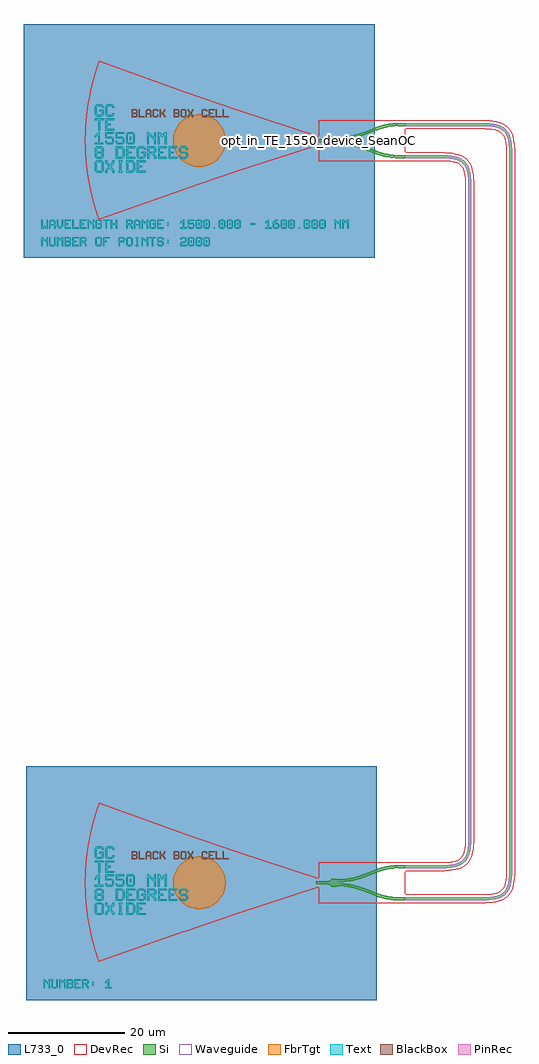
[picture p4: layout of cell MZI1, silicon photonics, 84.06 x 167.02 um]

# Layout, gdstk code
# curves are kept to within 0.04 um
import gdstk
lib = gdstk.Library(unit=1e-6, precision=1e-09)
def R(c, l, rs):  # rectangles x0, y0, x1, y1
    for r in rs: c.add(gdstk.rectangle(r[:2], r[2:], *l))
def A(c, l, x, y, w, h, nx, ny, dx, dy):  # array of equal rectangles
    R(c, l, [(x+i*dx, y+j*dy, x+i*dx+w, y+j*dy+h) for i in range(nx) for j in range(ny)])
def P(c, l, *ps):  # polygons
    for p in ps: c.add(gdstk.Polygon(p, *l))
Si = (1, 0)
PinRec = (1, 10)
Waveguide = (1, 99)
Text = (10, 0)
DevRec = (68, 0)
FbrTgt = (81, 0)
L733_0 = (733, 0)
BlackBox = (998, 0)

text = lib.new_cell('TEXT')
P(text, BlackBox, [(0,0),(0,1.4),(0.8,1.4),(1,1.2),(0.2,1.2),(0.2,0.8),(0.7,0.8),(0.8,0.9),(0.8,1.1),(0.7,1.2),(1,1.2),(1,0.8),(0.9,0.7),(1,0.6),(0.2,0.6),(0.2,0.2),(0.7,0.2),(0.8,0.3),(0.8,0.5),(0.7,0.6),(1,0.6),(1,0.2),(0.8,0)],
  [(1.2,0),(1.2,1.4),(1.4,1.4),(1.4,0.2),(2.2,0.2),(2.2,0)],
  [(2.4,0),(2.4,1.1),(2.7,1.4),(3.1,1.4),(3.3,1.2),(2.8,1.2),(2.6,1),(2.6,0.7),(3.2,0.7),(3.2,1),(3,1.2),(3.3,1.2),(3.4,1.1),(3.4,0),(3.2,0),(3.2,0.5),(2.6,0.5),(2.6,0)],
  [(3.8,0),(3.6,0.2),(3.6,1.2),(3.8,1.4),(4.4,1.4),(4.6,1.2),(4.6,1),(4.4,1),(4.4,1.1),(4.3,1.2),(3.9,1.2),(3.8,1.1),(3.8,0.3),(3.9,0.2),(4.3,0.2),(4.4,0.3),(4.4,0.4),(4.6,0.4),(4.6,0.2),(4.4,0)],
  [(4.8,0),(4.8,1.4),(5,1.4),(5,0.8),(5.2,0.8),(5.6,1.2),(5.6,1.4),(5.8,1.4),(5.8,1.1),(5.4,0.7),(5.8,0.3),(5.8,0),(5.6,0),(5.6,0.2),(5.2,0.6),(5,0.6),(5,0)],
  [(7.2,0),(7.2,1.4),(8,1.4),(8.2,1.2),(7.4,1.2),(7.4,0.8),(7.9,0.8),(8,0.9),(8,1.1),(7.9,1.2),(8.2,1.2),(8.2,0.8),(8.1,0.7),(8.2,0.6),(7.4,0.6),(7.4,0.2),(7.9,0.2),(8,0.3),(8,0.5),(7.9,0.6),(8.2,0.6),(8.2,0.2),(8,0)],
  [(8.6,0),(8.4,0.2),(8.4,1.2),(8.6,1.4),(9.2,1.4),(9.4,1.2),(9.4,0.7),(9.2,0.7),(9.2,1.1),(9.1,1.2),(8.7,1.2),(8.6,1.1),(8.6,0.3),(8.7,0.2),(9.1,0.2),(9.2,0.3),(9.2,0.7),(9.4,0.7),(9.4,0.2),(9.2,0)],
  [(9.6,0),(9.6,0.3),(9.9,0.6),(9.9,0.8),(9.6,1.1),(9.6,1.4),(9.8,1.4),(9.8,1.2),(10.1,0.9),(10.4,1.2),(10.4,1.4),(10.6,1.4),(10.6,1.1),(10.3,0.8),(10.3,0.6),(10.6,0.3),(10.6,0),(10.4,0),(10.4,0.2),(10.1,0.5),(9.8,0.2),(9.8,0)],
  [(12.2,0),(12,0.2),(12,1.2),(12.2,1.4),(12.8,1.4),(13,1.2),(13,1),(12.8,1),(12.8,1.1),(12.7,1.2),(12.3,1.2),(12.2,1.1),(12.2,0.3),(12.3,0.2),(12.7,0.2),(12.8,0.3),(12.8,0.4),(13,0.4),(13,0.2),(12.8,0)],
  [(13.2,0),(13.2,1.4),(14.2,1.4),(14.2,1.2),(13.4,1.2),(13.4,0.8),(13.8,0.8),(13.8,0.6),(13.4,0.6),(13.4,0.2),(14.2,0.2),(14.2,0)],
  [(14.4,0),(14.4,1.4),(14.6,1.4),(14.6,0.2),(15.4,0.2),(15.4,0)],
  [(15.6,0),(15.6,1.4),(15.8,1.4),(15.8,0.2),(16.6,0.2),(16.6,0)])

gc_te_1550_8degoxide_bb = lib.new_cell('GC_TE_1550_8degOxide_BB')
R(gc_te_1550_8degoxide_bb, Si, [(-0.4,-0.25,0,0.25)])
R(gc_te_1550_8degoxide_bb, Text, [(-32.313,0.092,-32.013,0.692)])
P(gc_te_1550_8degoxide_bb, Text, [(-37.67,1.71),(-37.67,3.51),(-38.27,3.51),(-38.27,3.81),(-36.77,3.81),(-36.77,3.51),(-37.37,3.51),(-37.37,1.71)],
  [(-37.97,-5.49),(-38.27,-5.19),(-38.27,-3.69),(-37.97,-3.39),(-37.07,-3.39),(-36.77,-3.69),(-36.77,-4.44),(-37.07,-4.44),(-37.07,-3.84),(-37.22,-3.69),(-37.82,-3.69),(-37.97,-3.84),(-37.97,-5.04),(-37.82,-5.19),(-37.22,-5.19),(-37.07,-5.04),(-37.07,-4.44),(-36.77,-4.44),(-36.77,-5.19),(-37.07,-5.49)],
  [(-31.07,-5.49),(-31.07,-3.39),(-29.57,-3.39),(-29.57,-3.69),(-30.77,-3.69),(-30.77,-4.29),(-30.17,-4.29),(-30.17,-4.59),(-30.77,-4.59),(-30.77,-5.19),(-29.57,-5.19),(-29.57,-5.49)],
  [(-32.87,-3.09),(-32.87,-0.99),(-31.37,-0.99),(-31.37,-1.29),(-32.57,-1.29),(-32.57,-1.89),(-31.97,-1.89),(-31.97,-2.19),(-32.57,-2.19),(-32.57,-2.79),(-31.37,-2.79),(-31.37,-3.09)],
  [(-27.47,-3.09),(-27.47,-0.99),(-25.97,-0.99),(-25.97,-1.29),(-27.17,-1.29),(-27.17,-1.89),(-26.57,-1.89),(-26.57,-2.19),(-27.17,-2.19),(-27.17,-2.79),(-25.97,-2.79),(-25.97,-3.09)],
  [(-25.67,-3.09),(-25.67,-0.99),(-24.17,-0.99),(-24.17,-1.29),(-25.37,-1.29),(-25.37,-1.89),(-24.77,-1.89),(-24.77,-2.19),(-25.37,-2.19),(-25.37,-2.79),(-24.17,-2.79),(-24.17,-3.09)],
  [(-36.47,1.71),(-36.47,3.81),(-34.97,3.81),(-34.97,3.51),(-36.17,3.51),(-36.17,2.91),(-35.57,2.91),(-35.57,2.61),(-36.17,2.61),(-36.17,2.01),(-34.97,2.01),(-34.97,1.71)],
  [(-29.313,-0.658),(-29.313,1.442),(-29.013,1.442),(-28.263,0.692),(-28.113,0.692),(-28.113,1.442),(-27.813,1.442),(-27.813,-0.658),(-28.113,-0.658),(-28.113,0.092),(-28.863,0.842),(-29.013,0.842),(-29.013,-0.658)],
  [(-34.22,-5.49),(-34.22,-5.19),(-34.07,-5.19),(-34.07,-3.69),(-34.22,-3.69),(-34.22,-3.39),(-33.62,-3.39),(-33.62,-3.69),(-33.77,-3.69),(-33.77,-5.19),(-33.62,-5.19),(-33.62,-5.49)],
  [(-36.17,4.11),(-36.47,4.41),(-36.47,5.91),(-36.17,6.21),(-35.27,6.21),(-34.97,5.91),(-34.97,5.61),(-35.27,5.61),(-35.27,5.76),(-35.42,5.91),(-36.02,5.91),(-36.17,5.76),(-36.17,4.56),(-36.02,4.41),(-35.42,4.41),(-35.27,4.56),(-35.27,4.71),(-34.97,4.71),(-34.97,4.41),(-35.27,4.11)],
  [(-27.513,-0.658),(-27.513,1.442),(-27.213,1.442),(-26.913,1.142),(-26.613,1.142),(-26.313,1.442),(-26.013,1.442),(-26.013,-0.658),(-26.313,-0.658),(-26.313,0.842),(-26.463,0.842),(-26.763,0.542),(-27.063,0.842),(-27.213,0.842),(-27.213,-0.658)],
  [(-32.613,-0.658),(-32.913,-0.358),(-32.913,1.142),(-32.613,1.442),(-31.713,1.442),(-31.413,1.142),(-32.463,1.142),(-32.613,0.992),(-32.613,-0.208),(-32.463,-0.358),(-31.863,-0.358),(-31.713,-0.208),(-31.713,0.992),(-31.863,1.142),(-31.413,1.142),(-31.413,-0.358),(-31.713,-0.658)],
  [(-32.87,-5.49),(-32.87,-3.39),(-31.82,-3.39),(-31.52,-3.69),(-32.57,-3.69),(-32.57,-5.19),(-31.97,-5.19),(-31.67,-4.89),(-31.67,-3.99),(-31.97,-3.69),(-31.52,-3.69),(-31.37,-3.84),(-31.37,-5.04),(-31.82,-5.49)],
  [(-34.67,-3.09),(-34.67,-0.99),(-33.62,-0.99),(-33.32,-1.29),(-34.37,-1.29),(-34.37,-2.79),(-33.77,-2.79),(-33.47,-2.49),(-33.47,-1.59),(-33.77,-1.29),(-33.32,-1.29),(-33.17,-1.44),(-33.17,-2.64),(-33.62,-3.09)],
  [(-23.57,-3.09),(-23.87,-2.79),(-23.87,-2.49),(-23.57,-2.49),(-23.57,-2.64),(-23.42,-2.79),(-22.82,-2.79),(-22.67,-2.64),(-22.67,-2.34),(-22.82,-2.19),(-23.57,-2.19),(-23.87,-1.89),(-23.87,-1.29),(-23.57,-0.99),(-22.67,-0.99),(-22.37,-1.29),(-22.37,-1.59),(-22.67,-1.59),(-22.67,-1.44),(-22.82,-1.29),(-23.42,-1.29),(-23.57,-1.44),(-23.57,-1.74),(-23.42,-1.89),(-22.67,-1.89),(-22.37,-2.19),(-22.37,-2.79),(-22.67,-3.09)],
  [(-36.213,-0.658),(-36.513,-0.358),(-36.513,-0.058),(-36.213,-0.058),(-36.213,-0.208),(-36.063,-0.358),(-35.463,-0.358),(-35.313,-0.208),(-35.313,0.242),(-35.463,0.392),(-36.513,0.392),(-36.513,1.442),(-35.013,1.442),(-35.013,1.142),(-36.213,1.142),(-36.213,0.692),(-35.313,0.692),(-35.013,0.392),(-35.013,-0.358),(-35.313,-0.658)],
  [(-34.413,-0.658),(-34.713,-0.358),(-34.713,-0.058),(-34.413,-0.058),(-34.413,-0.208),(-34.263,-0.358),(-33.663,-0.358),(-33.513,-0.208),(-33.513,0.242),(-33.663,0.392),(-34.713,0.392),(-34.713,1.442),(-33.213,1.442),(-33.213,1.142),(-34.413,1.142),(-34.413,0.692),(-33.513,0.692),(-33.213,0.392),(-33.213,-0.358),(-33.513,-0.658)],
  [(-37.97,-3.09),(-38.27,-2.79),(-38.27,-2.19),(-38.12,-2.04),(-38.27,-1.89),(-38.27,-1.29),(-37.97,-0.99),(-37.07,-0.99),(-36.77,-1.29),(-37.82,-1.29),(-37.97,-1.44),(-37.97,-1.74),(-37.82,-1.89),(-37.22,-1.89),(-37.07,-1.74),(-37.07,-1.44),(-37.22,-1.29),(-36.77,-1.29),(-36.77,-1.89),(-36.92,-2.04),(-36.77,-2.19),(-37.82,-2.19),(-37.97,-2.34),(-37.97,-2.64),(-37.82,-2.79),(-37.22,-2.79),(-37.07,-2.64),(-37.07,-2.34),(-37.22,-2.19),(-36.77,-2.19),(-36.77,-2.79),(-37.07,-3.09)],
  [(-38.313,-0.658),(-38.313,-0.358),(-37.713,-0.358),(-37.713,0.842),(-37.863,0.842),(-38.163,0.542),(-38.313,0.542),(-38.313,0.842),(-37.713,1.442),(-37.413,1.442),(-37.413,-0.358),(-36.813,-0.358),(-36.813,-0.658)],
  [(-36.47,-5.49),(-36.47,-5.04),(-36.02,-4.59),(-36.02,-4.29),(-36.47,-3.84),(-36.47,-3.39),(-36.17,-3.39),(-36.17,-3.69),(-35.72,-4.14),(-35.27,-3.69),(-35.27,-3.39),(-34.97,-3.39),(-34.97,-3.84),(-35.42,-4.29),(-35.42,-4.59),(-34.97,-5.04),(-34.97,-5.49),(-35.27,-5.49),(-35.27,-5.19),(-35.72,-4.74),(-36.17,-5.19),(-36.17,-5.49)],
  [(-30.77,-3.09),(-31.07,-2.79),(-31.07,-1.29),(-30.77,-0.99),(-29.87,-0.99),(-29.57,-1.29),(-29.57,-1.59),(-29.87,-1.59),(-29.87,-1.44),(-30.02,-1.29),(-30.62,-1.29),(-30.77,-1.44),(-30.77,-2.64),(-30.62,-2.79),(-30.02,-2.79),(-29.87,-2.64),(-29.87,-2.19),(-30.32,-2.19),(-30.32,-1.89),(-29.57,-1.89),(-29.57,-2.79),(-29.87,-3.09)],
  [(-37.97,4.11),(-38.27,4.41),(-38.27,5.91),(-37.97,6.21),(-37.07,6.21),(-36.77,5.91),(-36.77,5.61),(-37.07,5.61),(-37.07,5.76),(-37.22,5.91),(-37.82,5.91),(-37.97,5.76),(-37.97,4.56),(-37.82,4.41),(-37.22,4.41),(-37.07,4.56),(-37.07,5.01),(-37.52,5.01),(-37.52,5.31),(-36.77,5.31),(-36.77,4.41),(-37.07,4.11)],
  [(-29.27,-3.09),(-29.27,-0.99),(-28.07,-0.99),(-27.77,-1.29),(-28.97,-1.29),(-28.97,-1.89),(-28.22,-1.89),(-28.07,-1.74),(-28.07,-1.44),(-28.22,-1.29),(-27.77,-1.29),(-27.77,-1.89),(-28.07,-2.19),(-28.07,-2.34),(-27.77,-2.64),(-27.77,-3.09),(-28.07,-3.09),(-28.07,-2.79),(-28.67,-2.19),(-28.97,-2.19),(-28.97,-3.09)])
P(gc_te_1550_8degoxide_bb, DevRec, [(-37.607,-13.5),(-38.627,-10.245),(-39.378,-6.832),(-39.647,-5.058),(-39.835,-3.274),(-39.969,0.224),(-39.812,3.541),(-39.331,7.097),(-38.557,10.505),(-37.546,13.669),(-22.8,8.353),(-14.109,5.36),(0,0.75),(0,-0.75),(-14.109,-5.36)])
P(gc_te_1550_8degoxide_bb, FbrTgt, [(-20.621,-4.5),(-21.495,-4.37),(-22.326,-4.073),(-23.084,-3.619),(-23.738,-3.026),(-24.264,-2.316),(-24.642,-1.518),(-24.857,-0.661),(-24.9,0.221),(-24.77,1.095),(-24.473,1.926),(-24.019,2.684),(-23.426,3.338),(-22.716,3.864),(-21.918,4.242),(-21.061,4.457),(-20.179,4.5),(-19.305,4.37),(-18.474,4.073),(-17.716,3.619),(-17.062,3.026),(-16.536,2.316),(-16.158,1.518),(-15.943,0.661),(-15.9,-0.221),(-16.03,-1.095),(-16.327,-1.926),(-16.781,-2.684),(-17.374,-3.338),(-18.084,-3.864),(-18.882,-4.242),(-19.739,-4.457)])
gc_te_1550_8degoxide_bb.add(gdstk.FlexPath([(-0.01,0),(0.01,0)], 0.5, ends="flush", simple_path=True, layer=1, datatype=10))  # PinRec
gc_te_1550_8degoxide_bb.add(gdstk.Reference(text, (-32,4)))
gc_te_1550_8degoxide_bb.add(gdstk.Label('opt1', (0,0), layer=1, texttype=10))
gc_te_1550_8degoxide_bb.add(gdstk.Label('Lumerical_INTERCONNECT_library=Design kits/ebeam', (-29,-7), layer=68, texttype=0))
gc_te_1550_8degoxide_bb.add(gdstk.Label('Component=GC_TE_1550_8degOxide_BB', (-28,-5), layer=68, texttype=0))

ebeam_y_1550 = lib.new_cell('ebeam_y_1550')
R(ebeam_y_1550, Si, [(6.5,-3,7.4,-2.5), (-7.4,-0.25,-6,0.25), (6.5,2.5,7.4,3)])
P(ebeam_y_1550, Si, [(6.458,-3),(6.237,-2.997),(6.237,-2.497),(6.5,-2.5),(6.5,-3)],
  [(5.033,-2.908),(3.59,-2.634),(2.265,-2.21),(2.445,-1.744),(3.731,-2.154),(5.033,-2.404)],
  [(6.233,-2.997),(5.033,-2.908),(5.033,-2.404),(6.237,-2.497)],
  [(2.265,-2.21),(0.055,-1.356),(0.235,-0.89),(2.445,-1.744)],
  [(-0.762,-1.076),(-2.334,-0.724),(-4,-0.6),(-4,-0.1),(-2.381,-0.212),(-0.762,-0.555)],
  [(0.055,-1.356),(-0.762,-1.076),(-0.762,-0.555),(0.235,-0.89)],
  [(6.237,2.497),(6.237,2.997),(6.5,3),(6.5,2.5)],
  [(2.445,1.744),(2.267,2.211),(3.59,2.634),(5.033,2.908),(5.033,2.404),(3.731,2.154)],
  [(5.033,2.404),(5.033,2.908),(6.237,2.997),(6.237,2.497)],
  [(0.235,0.89),(0.055,1.356),(2.265,2.21),(2.445,1.744)],
  [(-4,0.1),(-4,0.6),(-2.334,0.724),(-0.762,1.076),(-0.762,0.555),(-2.381,0.212)],
  [(-0.762,0.555),(-0.762,1.076),(0.055,1.356),(0.235,0.89)],
  [(-5.122,-0.662),(-5.442,-0.374),(-5.808,-0.255),(-6,-0.25),(-6,0.25),(-5.817,0.253),(-5.442,0.374),(-5.122,0.662)],
  [(-4.957,-0.703),(-5.122,-0.662),(-5.122,0.662),(-4.538,0.703),(-4,0.6),(-4,-0.6),(-4.509,-0.701)])
R(ebeam_y_1550, DevRec, [(-7.4,-3.5,7.4,3.5)])
ebeam_y_1550.add(gdstk.FlexPath([(-7.35,0),(-7.45,0)], 0.5, ends="flush", simple_path=True, layer=1, datatype=10))  # PinRec
ebeam_y_1550.add(gdstk.FlexPath([(7.35,2.75),(7.45,2.75)], 0.5, ends="flush", simple_path=True, layer=1, datatype=10))  # PinRec
ebeam_y_1550.add(gdstk.FlexPath([(7.35,-2.75),(7.45,-2.75)], 0.5, ends="flush", simple_path=True, layer=1, datatype=10))  # PinRec
ebeam_y_1550.add(gdstk.Label('Ref: Y Zhang, Opt. Express, 21/1, 2013', (-7.5,-1), layer=10, texttype=0))
ebeam_y_1550.add(gdstk.Label('opt2', (7.4,2.75), layer=1, texttype=10))
ebeam_y_1550.add(gdstk.Label('opt3', (7.4,-2.75), layer=1, texttype=10))
ebeam_y_1550.add(gdstk.Label('opt1', (-7.4,0), layer=1, texttype=10))
ebeam_y_1550.add(gdstk.Label('Component=ebeam_y_1550', (-6,1.5), layer=68, texttype=0))
ebeam_y_1550.add(gdstk.Label('Lumerical_INTERCONNECT_library=Design kits/ebeam', (-6.86,-2.19), layer=68, texttype=0))

waveguide_2 = lib.new_cell('Waveguide$2')
P(waveguide_2, Si, [(16.6,-1.8),(16.6,-1.3),(29.907,-1.299),(31.075,-1.247),(32.031,-1.105),(32.993,-0.76),(33.357,-0.516),(33.655,-0.218),(34.095,0.585),(34.368,1.89),(34.44,3.45),(34.44,125.95),(34.328,127.839),(34.051,128.931),(33.587,129.696),(33.184,130.043),(32.784,130.263),(31.735,130.562),(30.897,130.661),(29.69,130.7),(16.6,130.7),(16.6,131.2),(29.69,131.2),(31.304,131.126),(32.294,130.955),(32.988,130.719),(33.571,130.382),(34.042,129.933),(34.401,129.372),(34.696,128.553),(34.846,127.74),(34.931,126.597),(34.94,3.45),(34.866,1.836),(34.732,1),(34.565,0.417),(34.337,-0.094),(34.041,-0.534),(33.673,-0.902),(33.233,-1.198),(32.722,-1.426),(31.982,-1.625),(31.121,-1.745),(29.911,-1.799)])
P(waveguide_2, Waveguide, [(16.6,-1.8),(16.6,-1.3),(29.907,-1.299),(31.075,-1.247),(32.031,-1.105),(32.993,-0.76),(33.357,-0.516),(33.655,-0.218),(34.095,0.585),(34.368,1.89),(34.44,3.45),(34.44,125.95),(34.328,127.839),(34.051,128.931),(33.587,129.696),(33.184,130.043),(32.784,130.263),(31.735,130.562),(30.897,130.661),(29.69,130.7),(16.6,130.7),(16.6,131.2),(29.69,131.2),(31.304,131.126),(32.294,130.955),(32.988,130.719),(33.571,130.382),(34.042,129.933),(34.401,129.372),(34.696,128.553),(34.846,127.74),(34.931,126.597),(34.94,3.45),(34.866,1.836),(34.732,1),(34.565,0.417),(34.337,-0.094),(34.041,-0.534),(33.673,-0.902),(33.233,-1.198),(32.722,-1.426),(31.982,-1.625),(31.121,-1.745),(29.911,-1.799)])
P(waveguide_2, DevRec, [(16.6,-2.3),(16.6,-0.8),(29.689,-0.8),(30.92,-0.758),(31.883,-0.625),(32.585,-0.405),(33.065,-0.108),(33.247,0.074),(33.544,0.554),(33.664,0.874),(33.842,1.705),(33.94,3.45),(33.94,125.95),(33.843,127.694),(33.665,128.525),(33.545,128.845),(33.248,129.325),(33.066,129.507),(32.586,129.804),(31.435,130.102),(29.689,130.2),(16.6,130.2),(16.6,131.7),(29.691,131.7),(31.643,131.588),(32.718,131.354),(33.2,131.172),(34.04,130.647),(34.388,130.299),(34.679,129.9),(35.095,128.977),(35.329,127.902),(35.43,126.651),(35.44,3.45),(35.328,1.497),(35.094,0.422),(34.912,-0.06),(34.387,-0.9),(33.64,-1.539),(33.199,-1.773),(32.199,-2.091),(31.04,-2.254),(29.691,-2.3)])
waveguide_2.add(gdstk.FlexPath([(16.61,-1.55),(16.59,-1.55)], 0.5, ends="flush", simple_path=True, layer=1, datatype=10))  # PinRec
waveguide_2.add(gdstk.FlexPath([(16.61,130.95),(16.59,130.95)], 0.5, ends="flush", simple_path=True, layer=1, datatype=10))  # PinRec
waveguide_2.add(gdstk.Label('opt1', (16.6,-1.55), layer=1, texttype=10))
waveguide_2.add(gdstk.Label('opt2', (16.6,130.95), layer=1, texttype=10))
waveguide_2.add(gdstk.Label('Lumerical_INTERCONNECT_library=Design kits/EBeam', (16.6,-1.65), layer=68, texttype=0))
waveguide_2.add(gdstk.Label('Component=ebeam_wg_integral_1550', (16.6,-1.45), layer=68, texttype=0))
waveguide_2.add(gdstk.Label('cellName=Waveguide', (16.6,-1.35), layer=68, texttype=0))
waveguide_2.add(gdstk.Label('Spice_param:wg_length=0.000165577 wg_width=5e-07 points="[[16.6,-1.55],[34.69,-1.55],[34.69,130.95],[16.6,130.95]]" radius=5e-06', (16.6,-1.55), layer=68, texttype=0))
waveguide_2.add(gdstk.Label('Length=165.577 (microns)', (16.6,-2.15), layer=68, texttype=0))
waveguide_2.add(gdstk.Label('waveguide_type=Strip TE 1550 nm, w=500 nm', (16.6,-1.75), layer=68, texttype=0))

waveguide_1 = lib.new_cell('Waveguide$1')
P(waveguide_1, Si, [(16.6,3.7),(16.6,4.2),(23.52,4.218),(24.735,4.338),(25.672,4.59),(26.358,4.985),(26.656,5.283),(26.9,5.647),(27.245,6.609),(27.413,7.929),(27.44,120.45),(27.386,121.836),(27.175,123.063),(26.783,123.944),(26.513,124.273),(26.183,124.544),(25.431,124.897),(24.579,125.088),(23.321,125.191),(16.6,125.2),(16.6,125.7),(23.739,125.673),(24.82,125.555),(25.722,125.326),(26.461,124.96),(26.956,124.533),(27.337,123.994),(27.655,123.201),(27.845,122.241),(27.93,121.098),(27.913,7.901),(27.733,6.501),(27.566,5.918),(27.338,5.407),(27.042,4.967),(26.674,4.599),(26.234,4.303),(25.723,4.075),(24.821,3.846),(23.542,3.718)])
P(waveguide_1, Waveguide, [(16.6,3.7),(16.6,4.2),(23.52,4.218),(24.735,4.338),(25.672,4.59),(26.358,4.985),(26.656,5.283),(26.9,5.647),(27.245,6.609),(27.413,7.929),(27.44,120.45),(27.386,121.836),(27.175,123.063),(26.783,123.944),(26.513,124.273),(26.183,124.544),(25.431,124.897),(24.579,125.088),(23.321,125.191),(16.6,125.2),(16.6,125.7),(23.739,125.673),(24.82,125.555),(25.722,125.326),(26.461,124.96),(26.956,124.533),(27.337,123.994),(27.655,123.201),(27.845,122.241),(27.93,121.098),(27.913,7.901),(27.733,6.501),(27.566,5.918),(27.338,5.407),(27.042,4.967),(26.674,4.599),(26.234,4.303),(25.723,4.075),(24.821,3.846),(23.542,3.718)])
P(waveguide_1, DevRec, [(16.6,3.2),(16.6,4.7),(23.34,4.711),(24.435,4.798),(25.586,5.096),(26.066,5.393),(26.248,5.575),(26.545,6.055),(26.765,6.757),(26.898,7.72),(26.94,8.95),(26.94,120.45),(26.897,121.681),(26.764,122.644),(26.404,123.609),(26.247,123.826),(25.848,124.165),(25.265,124.425),(24.434,124.603),(23.339,124.69),(16.6,124.7),(16.6,126.2),(24.04,126.154),(25.199,125.991),(26.199,125.673),(27.039,125.148),(27.387,124.8),(27.678,124.401),(28.094,123.478),(28.328,122.403),(28.429,121.152),(28.44,8.95),(28.394,7.6),(28.231,6.441),(28.095,5.923),(27.679,5),(27.04,4.253),(26.641,3.962),(25.718,3.546),(24.643,3.312),(23.392,3.211)])
waveguide_1.add(gdstk.FlexPath([(16.61,125.45),(16.59,125.45)], 0.5, ends="flush", simple_path=True, layer=1, datatype=10))  # PinRec
waveguide_1.add(gdstk.FlexPath([(16.61,3.95),(16.59,3.95)], 0.5, ends="flush", simple_path=True, layer=1, datatype=10))  # PinRec
waveguide_1.add(gdstk.Label('opt1', (16.6,125.45), layer=1, texttype=10))
waveguide_1.add(gdstk.Label('opt2', (16.6,3.95), layer=1, texttype=10))
waveguide_1.add(gdstk.Label('Lumerical_INTERCONNECT_library=Design kits/EBeam', (16.6,125.35), layer=68, texttype=0))
waveguide_1.add(gdstk.Label('Component=ebeam_wg_integral_1550', (16.6,125.55), layer=68, texttype=0))
waveguide_1.add(gdstk.Label('cellName=Waveguide', (16.6,125.65), layer=68, texttype=0))
waveguide_1.add(gdstk.Label('Spice_param:wg_length=0.000140577 wg_width=5e-07 points="[[16.6,125.45],[27.69,125.45],[27.69,3.95],[16.6,3.95]]" radius=5e-06', (16.6,125.45), layer=68, texttype=0))
waveguide_1.add(gdstk.Label('Length=140.577 (microns)', (16.6,124.85), layer=68, texttype=0))
waveguide_1.add(gdstk.Label('waveguide_type=Strip TE 1550 nm, w=500 nm', (16.6,125.25), layer=68, texttype=0))

text_1 = lib.new_cell('TEXT$1')
A(text_1, Text, 25.52, 0.55, 0.22, 0.44, 3, 1, 1.32, 0)
R(text_1, Text, [(21.56,0.44,21.78,0.66), (21.56,0.88,21.78,1.1)])
P(text_1, Text, [(0,0),(0,1.54),(0.22,1.54),(0.77,0.99),(0.88,0.99),(0.88,1.54),(1.1,1.54),(1.1,0),(0.88,0),(0.88,0.55),(0.33,1.1),(0.22,1.1),(0.22,0)],
  [(1.54,0),(1.32,0.22),(1.32,1.54),(1.54,1.54),(1.54,0.33),(1.65,0.22),(2.09,0.22),(2.2,0.33),(2.2,1.54),(2.42,1.54),(2.42,0.22),(2.2,0)],
  [(2.64,0),(2.64,1.54),(2.86,1.54),(3.08,1.32),(3.3,1.32),(3.52,1.54),(3.74,1.54),(3.74,0),(3.52,0),(3.52,1.1),(3.41,1.1),(3.19,0.88),(2.97,1.1),(2.86,1.1),(2.86,0)],
  [(3.96,0),(3.96,1.54),(4.84,1.54),(5.06,1.32),(4.18,1.32),(4.18,0.88),(4.73,0.88),(4.84,0.99),(4.84,1.21),(4.73,1.32),(5.06,1.32),(5.06,0.88),(4.95,0.77),(5.06,0.66),(4.18,0.66),(4.18,0.22),(4.73,0.22),(4.84,0.33),(4.84,0.55),(4.73,0.66),(5.06,0.66),(5.06,0.22),(4.84,0)],
  [(5.28,0),(5.28,1.54),(6.38,1.54),(6.38,1.32),(5.5,1.32),(5.5,0.88),(5.94,0.88),(5.94,0.66),(5.5,0.66),(5.5,0.22),(6.38,0.22),(6.38,0)],
  [(6.6,0),(6.6,1.54),(7.48,1.54),(7.7,1.32),(6.82,1.32),(6.82,0.88),(7.37,0.88),(7.48,0.99),(7.48,1.21),(7.37,1.32),(7.7,1.32),(7.7,0.88),(7.48,0.66),(7.48,0.55),(7.7,0.33),(7.7,0),(7.48,0),(7.48,0.22),(7.04,0.66),(6.82,0.66),(6.82,0)],
  [(9.46,0),(9.24,0.22),(9.24,1.32),(9.46,1.54),(10.12,1.54),(10.34,1.32),(10.34,0.77),(10.12,0.77),(10.12,1.21),(10.01,1.32),(9.57,1.32),(9.46,1.21),(9.46,0.33),(9.57,0.22),(10.01,0.22),(10.12,0.33),(10.12,0.77),(10.34,0.77),(10.34,0.22),(10.12,0)],
  [(10.56,0),(10.56,1.54),(11.66,1.54),(11.66,1.32),(10.78,1.32),(10.78,0.88),(11.22,0.88),(11.22,0.66),(10.78,0.66),(10.78,0)],
  [(13.2,0),(13.2,1.54),(14.08,1.54),(14.3,1.32),(14.3,0.88),(14.08,0.66),(13.42,0.66),(13.42,0.88),(13.97,0.88),(14.08,0.99),(14.08,1.21),(13.97,1.32),(13.42,1.32),(13.42,0)],
  [(14.74,0),(14.52,0.22),(14.52,1.32),(14.74,1.54),(15.4,1.54),(15.62,1.32),(15.62,0.77),(15.4,0.77),(15.4,1.21),(15.29,1.32),(14.85,1.32),(14.74,1.21),(14.74,0.33),(14.85,0.22),(15.29,0.22),(15.4,0.33),(15.4,0.77),(15.62,0.77),(15.62,0.22),(15.4,0)],
  [(16.17,0),(16.17,0.22),(16.28,0.22),(16.28,1.32),(16.17,1.32),(16.17,1.54),(16.61,1.54),(16.61,1.32),(16.5,1.32),(16.5,0.22),(16.61,0.22),(16.61,0)],
  [(17.16,0),(17.16,1.54),(17.38,1.54),(17.93,0.99),(18.04,0.99),(18.04,1.54),(18.26,1.54),(18.26,0),(18.04,0),(18.04,0.55),(17.49,1.1),(17.38,1.1),(17.38,0)],
  [(18.92,0),(18.92,1.32),(18.48,1.32),(18.48,1.54),(19.58,1.54),(19.58,1.32),(19.14,1.32),(19.14,0)],
  [(20.02,0),(19.8,0.22),(19.8,0.44),(20.02,0.44),(20.02,0.33),(20.13,0.22),(20.57,0.22),(20.68,0.33),(20.68,0.55),(20.57,0.66),(20.02,0.66),(19.8,0.88),(19.8,1.32),(20.02,1.54),(20.68,1.54),(20.9,1.32),(20.9,1.1),(20.68,1.1),(20.68,1.21),(20.57,1.32),(20.13,1.32),(20.02,1.21),(20.02,0.99),(20.13,0.88),(20.68,0.88),(20.9,0.66),(20.9,0.22),(20.68,0)],
  [(23.76,0),(23.76,0.55),(23.98,0.77),(24.53,0.77),(24.64,0.88),(24.64,1.21),(24.53,1.32),(24.09,1.32),(23.98,1.21),(23.98,1.1),(23.76,1.1),(23.76,1.32),(23.98,1.54),(24.64,1.54),(24.86,1.32),(24.86,0.77),(24.64,0.55),(24.09,0.55),(23.98,0.44),(23.98,0.22),(24.86,0.22),(24.86,0)],
  [(25.3,0),(25.08,0.22),(25.08,1.32),(25.3,1.54),(25.96,1.54),(26.18,1.32),(25.41,1.32),(25.3,1.21),(25.3,0.33),(25.41,0.22),(25.85,0.22),(25.96,0.33),(25.96,1.21),(25.85,1.32),(26.18,1.32),(26.18,0.22),(25.96,0)],
  [(26.62,0),(26.4,0.22),(26.4,1.32),(26.62,1.54),(27.28,1.54),(27.5,1.32),(26.73,1.32),(26.62,1.21),(26.62,0.33),(26.73,0.22),(27.17,0.22),(27.28,0.33),(27.28,1.21),(27.17,1.32),(27.5,1.32),(27.5,0.22),(27.28,0)],
  [(27.94,0),(27.72,0.22),(27.72,1.32),(27.94,1.54),(28.6,1.54),(28.82,1.32),(28.05,1.32),(27.94,1.21),(27.94,0.33),(28.05,0.22),(28.49,0.22),(28.6,0.33),(28.6,1.21),(28.49,1.32),(28.82,1.32),(28.82,0.22),(28.6,0)])

text_2 = lib.new_cell('TEXT$2')
A(text_2, Text, 30.8, 0.55, 0.22, 0.44, 3, 1, 1.32, 0)
A(text_2, Text, 45.32, 0.55, 0.22, 0.44, 3, 1, 1.32, 0)
R(text_2, Text, [(29.48,0,29.7,0.22), (44,0,44.22,0.22), (21.56,0.44,21.78,0.66), (26.84,0.55,27.06,0.99), (28.16,0.55,28.38,0.99), (41.36,0.55,41.58,0.99), (42.68,0.55,42.9,0.99), (35.75,0.66,36.63,0.88), (21.56,0.88,21.78,1.1)])
P(text_2, Text, [(0,0),(0,1.54),(0.22,1.54),(0.22,0.33),(0.33,0.33),(0.55,0.55),(0.77,0.33),(0.88,0.33),(0.88,1.54),(1.1,1.54),(1.1,0),(0.77,0),(0.55,0.22),(0.33,0)],
  [(1.32,0),(1.32,1.21),(1.65,1.54),(2.09,1.54),(2.31,1.32),(1.76,1.32),(1.54,1.1),(1.54,0.77),(2.2,0.77),(2.2,1.1),(1.98,1.32),(2.31,1.32),(2.42,1.21),(2.42,0),(2.2,0),(2.2,0.55),(1.54,0.55),(1.54,0)],
  [(3.08,0),(2.64,0.44),(2.64,1.54),(2.86,1.54),(2.86,0.55),(3.19,0.22),(3.52,0.55),(3.52,1.54),(3.74,1.54),(3.74,0.44),(3.3,0)],
  [(3.96,0),(3.96,1.54),(5.06,1.54),(5.06,1.32),(4.18,1.32),(4.18,0.88),(4.62,0.88),(4.62,0.66),(4.18,0.66),(4.18,0.22),(5.06,0.22),(5.06,0)],
  [(5.28,0),(5.28,1.54),(5.5,1.54),(5.5,0.22),(6.38,0.22),(6.38,0)],
  [(6.6,0),(6.6,1.54),(7.7,1.54),(7.7,1.32),(6.82,1.32),(6.82,0.88),(7.26,0.88),(7.26,0.66),(6.82,0.66),(6.82,0.22),(7.7,0.22),(7.7,0)],
  [(7.92,0),(7.92,1.54),(8.14,1.54),(8.69,0.99),(8.8,0.99),(8.8,1.54),(9.02,1.54),(9.02,0),(8.8,0),(8.8,0.55),(8.25,1.1),(8.14,1.1),(8.14,0)],
  [(9.46,0),(9.24,0.22),(9.24,1.32),(9.46,1.54),(10.12,1.54),(10.34,1.32),(10.34,1.1),(10.12,1.1),(10.12,1.21),(10.01,1.32),(9.57,1.32),(9.46,1.21),(9.46,0.33),(9.57,0.22),(10.01,0.22),(10.12,0.33),(10.12,0.66),(9.79,0.66),(9.79,0.88),(10.34,0.88),(10.34,0.22),(10.12,0)],
  [(11,0),(11,1.32),(10.56,1.32),(10.56,1.54),(11.66,1.54),(11.66,1.32),(11.22,1.32),(11.22,0)],
  [(11.88,0),(11.88,1.54),(12.1,1.54),(12.1,0.88),(12.76,0.88),(12.76,1.54),(12.98,1.54),(12.98,0),(12.76,0),(12.76,0.66),(12.1,0.66),(12.1,0)],
  [(14.52,0),(14.52,1.54),(15.4,1.54),(15.62,1.32),(14.74,1.32),(14.74,0.88),(15.29,0.88),(15.4,0.99),(15.4,1.21),(15.29,1.32),(15.62,1.32),(15.62,0.88),(15.4,0.66),(15.4,0.55),(15.62,0.33),(15.62,0),(15.4,0),(15.4,0.22),(14.96,0.66),(14.74,0.66),(14.74,0)],
  [(15.84,0),(15.84,1.21),(16.17,1.54),(16.61,1.54),(16.83,1.32),(16.28,1.32),(16.06,1.1),(16.06,0.77),(16.72,0.77),(16.72,1.1),(16.5,1.32),(16.83,1.32),(16.94,1.21),(16.94,0),(16.72,0),(16.72,0.55),(16.06,0.55),(16.06,0)],
  [(17.16,0),(17.16,1.54),(17.38,1.54),(17.93,0.99),(18.04,0.99),(18.04,1.54),(18.26,1.54),(18.26,0),(18.04,0),(18.04,0.55),(17.49,1.1),(17.38,1.1),(17.38,0)],
  [(18.7,0),(18.48,0.22),(18.48,1.32),(18.7,1.54),(19.36,1.54),(19.58,1.32),(19.58,1.1),(19.36,1.1),(19.36,1.21),(19.25,1.32),(18.81,1.32),(18.7,1.21),(18.7,0.33),(18.81,0.22),(19.25,0.22),(19.36,0.33),(19.36,0.66),(19.03,0.66),(19.03,0.88),(19.58,0.88),(19.58,0.22),(19.36,0)],
  [(19.8,0),(19.8,1.54),(20.9,1.54),(20.9,1.32),(20.02,1.32),(20.02,0.88),(20.46,0.88),(20.46,0.66),(20.02,0.66),(20.02,0.22),(20.9,0.22),(20.9,0)],
  [(23.76,0),(23.76,0.22),(24.2,0.22),(24.2,1.1),(24.09,1.1),(23.87,0.88),(23.76,0.88),(23.76,1.1),(24.2,1.54),(24.42,1.54),(24.42,0.22),(24.86,0.22),(24.86,0)],
  [(25.3,0),(25.08,0.22),(25.08,0.44),(25.3,0.44),(25.3,0.33),(25.41,0.22),(25.85,0.22),(25.96,0.33),(25.96,0.66),(25.85,0.77),(25.08,0.77),(25.08,1.54),(26.18,1.54),(26.18,1.32),(25.3,1.32),(25.3,0.99),(25.96,0.99),(26.18,0.77),(26.18,0.22),(25.96,0)],
  [(26.62,0),(26.4,0.22),(26.4,1.32),(26.62,1.54),(27.28,1.54),(27.5,1.32),(26.73,1.32),(26.62,1.21),(26.62,0.33),(26.73,0.22),(27.17,0.22),(27.28,0.33),(27.28,1.21),(27.17,1.32),(27.5,1.32),(27.5,0.22),(27.28,0)],
  [(27.94,0),(27.72,0.22),(27.72,1.32),(27.94,1.54),(28.6,1.54),(28.82,1.32),(28.05,1.32),(27.94,1.21),(27.94,0.33),(28.05,0.22),(28.49,0.22),(28.6,0.33),(28.6,1.21),(28.49,1.32),(28.82,1.32),(28.82,0.22),(28.6,0)],
  [(30.58,0),(30.36,0.22),(30.36,1.32),(30.58,1.54),(31.24,1.54),(31.46,1.32),(30.69,1.32),(30.58,1.21),(30.58,0.33),(30.69,0.22),(31.13,0.22),(31.24,0.33),(31.24,1.21),(31.13,1.32),(31.46,1.32),(31.46,0.22),(31.24,0)],
  [(31.9,0),(31.68,0.22),(31.68,1.32),(31.9,1.54),(32.56,1.54),(32.78,1.32),(32.01,1.32),(31.9,1.21),(31.9,0.33),(32.01,0.22),(32.45,0.22),(32.56,0.33),(32.56,1.21),(32.45,1.32),(32.78,1.32),(32.78,0.22),(32.56,0)],
  [(33.22,0),(33,0.22),(33,1.32),(33.22,1.54),(33.88,1.54),(34.1,1.32),(33.33,1.32),(33.22,1.21),(33.22,0.33),(33.33,0.22),(33.77,0.22),(33.88,0.33),(33.88,1.21),(33.77,1.32),(34.1,1.32),(34.1,0.22),(33.88,0)],
  [(38.28,0),(38.28,0.22),(38.72,0.22),(38.72,1.1),(38.61,1.1),(38.39,0.88),(38.28,0.88),(38.28,1.1),(38.72,1.54),(38.94,1.54),(38.94,0.22),(39.38,0.22),(39.38,0)],
  [(39.82,0),(39.6,0.22),(39.6,1.1),(40.04,1.54),(40.48,1.54),(40.48,1.32),(40.15,1.32),(39.93,1.1),(39.93,0.99),(40.48,0.99),(40.7,0.77),(39.93,0.77),(39.82,0.66),(39.82,0.33),(39.93,0.22),(40.37,0.22),(40.48,0.33),(40.48,0.66),(40.37,0.77),(40.7,0.77),(40.7,0.22),(40.48,0)],
  [(41.14,0),(40.92,0.22),(40.92,1.32),(41.14,1.54),(41.8,1.54),(42.02,1.32),(41.25,1.32),(41.14,1.21),(41.14,0.33),(41.25,0.22),(41.69,0.22),(41.8,0.33),(41.8,1.21),(41.69,1.32),(42.02,1.32),(42.02,0.22),(41.8,0)],
  [(42.46,0),(42.24,0.22),(42.24,1.32),(42.46,1.54),(43.12,1.54),(43.34,1.32),(42.57,1.32),(42.46,1.21),(42.46,0.33),(42.57,0.22),(43.01,0.22),(43.12,0.33),(43.12,1.21),(43.01,1.32),(43.34,1.32),(43.34,0.22),(43.12,0)],
  [(45.1,0),(44.88,0.22),(44.88,1.32),(45.1,1.54),(45.76,1.54),(45.98,1.32),(45.21,1.32),(45.1,1.21),(45.1,0.33),(45.21,0.22),(45.65,0.22),(45.76,0.33),(45.76,1.21),(45.65,1.32),(45.98,1.32),(45.98,0.22),(45.76,0)],
  [(46.42,0),(46.2,0.22),(46.2,1.32),(46.42,1.54),(47.08,1.54),(47.3,1.32),(46.53,1.32),(46.42,1.21),(46.42,0.33),(46.53,0.22),(46.97,0.22),(47.08,0.33),(47.08,1.21),(46.97,1.32),(47.3,1.32),(47.3,0.22),(47.08,0)],
  [(47.74,0),(47.52,0.22),(47.52,1.32),(47.74,1.54),(48.4,1.54),(48.62,1.32),(47.85,1.32),(47.74,1.21),(47.74,0.33),(47.85,0.22),(48.29,0.22),(48.4,0.33),(48.4,1.21),(48.29,1.32),(48.62,1.32),(48.62,0.22),(48.4,0)],
  [(50.16,0),(50.16,1.54),(50.38,1.54),(50.93,0.99),(51.04,0.99),(51.04,1.54),(51.26,1.54),(51.26,0),(51.04,0),(51.04,0.55),(50.49,1.1),(50.38,1.1),(50.38,0)],
  [(51.48,0),(51.48,1.54),(51.7,1.54),(51.92,1.32),(52.14,1.32),(52.36,1.54),(52.58,1.54),(52.58,0),(52.36,0),(52.36,1.1),(52.25,1.1),(52.03,0.88),(51.81,1.1),(51.7,1.1),(51.7,0)])

lumerical_interconnect_l = lib.new_cell('Lumerical_INTERCONNECT_Laser')
R(lumerical_interconnect_l, L733_0, [(-30,-20,30,20)])
lumerical_interconnect_l.add(gdstk.Reference(text_1, (-27,-18)))
lumerical_interconnect_l.add(gdstk.Reference(text_2, (-27,-15)))
lumerical_interconnect_l.add(gdstk.Label('Tunable Laser', (-27,16), layer=733, texttype=0))
lumerical_interconnect_l.add(gdstk.Label('Wavelength range: 1500.000 - 1600.000 nm', (-27,12), layer=733, texttype=0))
lumerical_interconnect_l.add(gdstk.Label('Number of points: 2000', (-27,8), layer=733, texttype=0))
lumerical_interconnect_l.add(gdstk.Label('Ignore optical IOs in simulations: 0', (-27,4), layer=733, texttype=0))

text_3 = lib.new_cell('TEXT$3')
R(text_3, Text, [(8.36,0.44,8.58,0.66), (8.36,0.88,8.58,1.1)])
P(text_3, Text, [(0,0),(0,1.54),(0.22,1.54),(0.77,0.99),(0.88,0.99),(0.88,1.54),(1.1,1.54),(1.1,0),(0.88,0),(0.88,0.55),(0.33,1.1),(0.22,1.1),(0.22,0)],
  [(1.54,0),(1.32,0.22),(1.32,1.54),(1.54,1.54),(1.54,0.33),(1.65,0.22),(2.09,0.22),(2.2,0.33),(2.2,1.54),(2.42,1.54),(2.42,0.22),(2.2,0)],
  [(2.64,0),(2.64,1.54),(2.86,1.54),(3.08,1.32),(3.3,1.32),(3.52,1.54),(3.74,1.54),(3.74,0),(3.52,0),(3.52,1.1),(3.41,1.1),(3.19,0.88),(2.97,1.1),(2.86,1.1),(2.86,0)],
  [(3.96,0),(3.96,1.54),(4.84,1.54),(5.06,1.32),(4.18,1.32),(4.18,0.88),(4.73,0.88),(4.84,0.99),(4.84,1.21),(4.73,1.32),(5.06,1.32),(5.06,0.88),(4.95,0.77),(5.06,0.66),(4.18,0.66),(4.18,0.22),(4.73,0.22),(4.84,0.33),(4.84,0.55),(4.73,0.66),(5.06,0.66),(5.06,0.22),(4.84,0)],
  [(5.28,0),(5.28,1.54),(6.38,1.54),(6.38,1.32),(5.5,1.32),(5.5,0.88),(5.94,0.88),(5.94,0.66),(5.5,0.66),(5.5,0.22),(6.38,0.22),(6.38,0)],
  [(6.6,0),(6.6,1.54),(7.48,1.54),(7.7,1.32),(6.82,1.32),(6.82,0.88),(7.37,0.88),(7.48,0.99),(7.48,1.21),(7.37,1.32),(7.7,1.32),(7.7,0.88),(7.48,0.66),(7.48,0.55),(7.7,0.33),(7.7,0),(7.48,0),(7.48,0.22),(7.04,0.66),(6.82,0.66),(6.82,0)],
  [(10.56,0),(10.56,0.22),(11,0.22),(11,1.1),(10.89,1.1),(10.67,0.88),(10.56,0.88),(10.56,1.1),(11,1.54),(11.22,1.54),(11.22,0.22),(11.66,0.22),(11.66,0)])

lumerical_interconnect_d = lib.new_cell('Lumerical_INTERCONNECT_Detector')
R(lumerical_interconnect_d, L733_0, [(-30,-20,30,20)])
lumerical_interconnect_d.add(gdstk.Reference(text_3, (-27,-18)))
lumerical_interconnect_d.add(gdstk.Label('Detector', (-27,16), layer=733, texttype=0))
lumerical_interconnect_d.add(gdstk.Label('Detector Number: 1', (-27,12), layer=733, texttype=0))
lumerical_interconnect_d.add(gdstk.Label('LumericalINTERCONNECT_Detector 1', (0,0), layer=733, texttype=0))

mzi1 = lib.new_cell('MZI1')
mzi1.add(gdstk.Reference(gc_te_1550_8degoxide_bb, (50.42,20.06)))
mzi1.add(gdstk.Reference(ebeam_y_1550, (57.82,147.06)))
mzi1.add(gdstk.Reference(ebeam_y_1550, (57.82,20.06)))
mzi1.add(gdstk.Reference(gc_te_1550_8degoxide_bb, (50.42,147.06)))
mzi1.add(gdstk.Reference(waveguide_2, (48.62,18.86)))
mzi1.add(gdstk.Reference(waveguide_1, (48.62,18.86)))
r = gdstk.Reference(lumerical_interconnect_l, (30,147.02)); r.repetition = gdstk.Repetition(1, 1, v1=(0,0), v2=(0,0)); mzi1.add(r)
r = gdstk.Reference(lumerical_interconnect_d, (30.37,20)); r.repetition = gdstk.Repetition(1, 1, v1=(0,0), v2=(0,0)); mzi1.add(r)
mzi1.add(gdstk.Label('opt_in_TE_1550_device_SeanOConnor_MZI1', (50.42,147.06), layer=10, texttype=0))

lib.write_gds('MZI1.gds')
